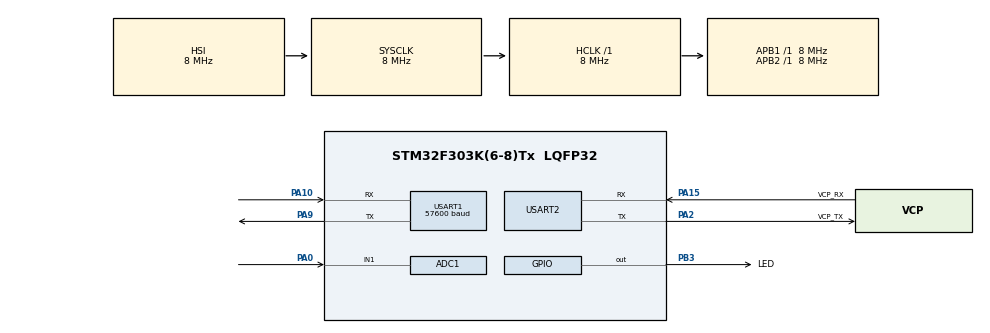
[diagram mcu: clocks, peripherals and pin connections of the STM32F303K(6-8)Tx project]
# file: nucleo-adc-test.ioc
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ADC1.Channel-0\#ChannelRegularConversion=ADC_CHANNEL_1
ADC1.ClockPrescaler=ADC_CLOCK_SYNC_PCLK_DIV1
ADC1.ContinuousConvMode=DISABLE
ADC1.DMAContinuousRequests=ENABLE
ADC1.ExternalTrigConv=ADC_EXTERNALTRIGCONV_T3_TRGO
ADC1.NbrOfConversion=1
ADC1.NbrOfConversionFlag=1
ADC1.Offset-0\#ChannelRegularConversion=0
ADC1.OffsetNumber-0\#ChannelRegularConversion=ADC_OFFSET_NONE
ADC1.Rank-0\#ChannelRegularConversion=1
ADC1.SamplingTime-0\#ChannelRegularConversion=ADC_SAMPLETIME_1CYCLE_5
ADC1.SubFamily=STM32F303x8
ADC1.master=1
Dma.ADC1.0.Direction=DMA_PERIPH_TO_MEMORY
Dma.ADC1.0.Instance=DMA1_Channel1
Dma.ADC1.0.MemDataAlignment=DMA_MDATAALIGN_HALFWORD
Dma.ADC1.0.MemInc=DMA_MINC_ENABLE
Dma.ADC1.0.Mode=DMA_CIRCULAR
Dma.ADC1.0.PeriphDataAlignment=DMA_PDATAALIGN_HALFWORD
Dma.ADC1.0.PeriphInc=DMA_PINC_DISABLE
Dma.ADC1.0.Priority=DMA_PRIORITY_LOW
Dma.Request0=ADC1
Dma.Request1=USART1_RX
Dma.Request2=USART1_TX
Dma.USART1_RX.1.Direction=DMA_PERIPH_TO_MEMORY
Dma.USART1_RX.1.Instance=DMA1_Channel5
Dma.USART1_RX.1.MemDataAlignment=DMA_MDATAALIGN_BYTE
Dma.USART1_RX.1.MemInc=DMA_MINC_ENABLE
Dma.USART1_RX.1.Mode=DMA_NORMAL
Dma.USART1_RX.1.PeriphDataAlignment=DMA_PDATAALIGN_BYTE
Dma.USART1_RX.1.PeriphInc=DMA_PINC_DISABLE
Dma.USART1_RX.1.Priority=DMA_PRIORITY_LOW
Dma.USART1_TX.2.Direction=DMA_MEMORY_TO_PERIPH
Dma.USART1_TX.2.Instance=DMA1_Channel4
Dma.USART1_TX.2.MemDataAlignment=DMA_MDATAALIGN_BYTE
Dma.USART1_TX.2.MemInc=DMA_MINC_ENABLE
Dma.USART1_TX.2.Mode=DMA_NORMAL
Dma.USART1_TX.2.PeriphDataAlignment=DMA_PDATAALIGN_BYTE
Dma.USART1_TX.2.PeriphInc=DMA_PINC_DISABLE
Dma.USART1_TX.2.Priority=DMA_PRIORITY_LOW
Mcu.Family=STM32F3
Mcu.Name=STM32F303K(6-8)Tx
Mcu.Package=LQFP32
NVIC.DMA1_Channel1_IRQn=true\:0\:0\:false\:false\:true\:false\:true\:true
NVIC.DMA1_Channel4_IRQn=true\:0\:0\:false\:false\:true\:false\:true\:true
NVIC.DMA1_Channel5_IRQn=true\:0\:0\:false\:false\:true\:false\:true\:true
NVIC.PriorityGroup=NVIC_PRIORITYGROUP_4
PA0.Mode=IN1-Single-Ended
PA0.Signal=ADC1_IN1
PA10.Mode=Asynchronous
PA10.Signal=USART1_RX
PA13.GPIO_Label=SWDIO
PA13.Mode=Serial_Wire
PA13.Signal=SYS_JTMS-SWDIO
PA14.GPIO_Label=SWCLK
PA14.Mode=Serial_Wire
PA14.Signal=SYS_JTCK-SWCLK
PA15.GPIO_Label=VCP_RX
PA15.Mode=Asynchronous
PA15.Signal=USART2_RX
PA2.GPIO_Label=VCP_TX
PA2.Mode=Asynchronous
PA2.Signal=USART2_TX
PA9.Mode=Asynchronous
PA9.Signal=USART1_TX
PB3.GPIO_Label=LED
PB3.Signal=GPIO_Output
PF0\ /\ OSC_IN.GPIO_Label=MCO
PF0\ /\ OSC_IN.Mode=HSE-External-Clock-Source
PF0\ /\ OSC_IN.Signal=RCC_OSC_IN
ProjectManager.HeapSize=0x200
ProjectManager.StackSize=0x400
ProjectManager.TargetToolchain=STM32CubeIDE
RCC.AHBFreq_Value=8000000
RCC.APB1Freq_Value=8000000
RCC.APB2Freq_Value=8000000
RCC.CortexFreq_Value=8000000
RCC.HSE_VALUE=8000000
RCC.HSI_VALUE=8000000
RCC.SYSCLKFreq_VALUE=8000000
TIM3.Period=640
TIM3.Prescaler=100 - 1
USART1.BaudRate=57600
USART1.VirtualMode-Asynchronous=VM_ASYNC
USART2.VirtualMode-Asynchronous=VM_ASYNC
VP_TIM3_VS_ClockSourceINT.Mode=Internal
board=NUCLEO-F303K8

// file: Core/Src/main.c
/* USER CODE BEGIN Header */
/**
  ******************************************************************************
  * @file           : main.c
  * @brief          : Main program body
  ******************************************************************************
  * @attention
  *
  * Copyright (c) 2022 STMicroelectronics.
  * All rights reserved.
  *
  * This software is licensed under terms that can be found in the LICENSE file
  * in the root directory of this software component.
  * If no LICENSE file comes with this software, it is provided AS-IS.
  *
  ******************************************************************************
  */
/* USER CODE END Header */
#include "main.h"

/* USER CODE BEGIN Includes */
#include <string.h>
#include <stdio.h>

#include "utils.h"
/* USER CODE END Includes */

/* USER CODE BEGIN PTD */

TIM_HandleTypeDef htim3;

/* USER CODE END PTD */

/* USER CODE BEGIN PD */

// We are defining a type of thing. We will have many of these within an array
// Old Test Code
// #define ADC_BUF_LEN 4096

/* Enable Printing of Receive Messages From USART */
#define RECEIVE_PRINT_EN		0
#define ADC_BUFF_SIZE			512
#define ADC_BUFF_HALF_SIZE 		ADC_BUFF_SIZE/2
/* The offset is the size of adc array as this accounts for casting 16bit to 8bit int */
#define ADC_BUFF_OFFSET			ADC_BUFF_SIZE
#define UART_RX_BUFFER_SIZE		256
#define END_OF_MESSAGE_CHAR		'\n'
#define START_STR			"start\n"

/* USER CODE END PD */

 ADC_HandleTypeDef hadc1;
DMA_HandleTypeDef hdma_adc1;

TIM_HandleTypeDef htim3;

UART_HandleTypeDef huart1;
UART_HandleTypeDef huart2;
DMA_HandleTypeDef hdma_usart1_rx;
DMA_HandleTypeDef hdma_usart1_tx;

/* USER CODE BEGIN PV */

/* __IO is volatile in HAL library */
__IO uint8_t *print_str_ptr = NULL;
__IO uint16_t adc_val[ADC_BUFF_SIZE] = { 0 }; /* Where the ADC values are stored */
__IO uint16_t adc_array_offset = 0; /* Offset for sending first or second half of ADC buffer */
__IO uint8_t adc_print = 0; /* Print adc values flag */
__IO uint8_t str_print = 0; /* Print string flag */
__IO uint8_t end_of_message = 0; /* Flag is set when start of string has be sent */
__IO uint8_t start = 0; /* Flag to start main loop after receiving response from PC */

uint8_t rx_buffer[UART_RX_BUFFER_SIZE] = { 0 }; /* Buffer for received messages over USART */
circle_buff_s rx_control = { /* Struct for managing receive buffer */.buffer = rx_buffer, .head = 0, .tail = 0, .size = UART_RX_BUFFER_SIZE,
		.wrapped = 0 };

// Old Test Code
// We use many of those buffers and keep em in this array
//uint16_t adc_buf[ADC_BUF_LEN];

/* USER CODE END PV */

void SystemClock_Config(void);
static void MX_GPIO_Init(void);
static void MX_USART2_UART_Init(void);
static void MX_DMA_Init(void);
static void MX_ADC1_Init(void);
static void MX_USART1_UART_Init(void);
static void MX_TIM3_Init(void);

int main(void)
{

  /* MCU Configuration--------------------------------------------------------*/

  /* Reset of all peripherals, Initializes the Flash interface and the Systick. */
  HAL_Init();

  /* Configure the system clock */
  SystemClock_Config();

  /* Initialize all configured peripherals */
  MX_GPIO_Init();
  MX_USART2_UART_Init();
  MX_DMA_Init();
  MX_ADC1_Init();
  MX_USART1_UART_Init();
  MX_TIM3_Init();
  /* USER CODE BEGIN 2 */

  // OLD TEST CODE
  // HAL library will start the DMC for us
  // HAL_ADC_Start_DMA(&hadc1, (uint32_t*)adc_buf, ADC_BUF_LEN);

	/* Enable interrupt on single Byte receive in USART buffer */
	__HAL_UART_ENABLE_IT(&huart1, UART_IT_RXNE);

	/* Workaround for asynchronous UART RX */
	huart1.pRxBuffPtr = rx_control.buffer; /* Tell USART where to place received bytes */
	huart1.Mask = 0xFFU; /* Setting no parity bits */

  /* USER CODE END 2 */

  /* Infinite loop */
  /* USER CODE BEGIN WHILE */
/* Loop around until "start\n" is received over USART */
  while (!start)
  {

	  HAL_printf("s"); /* Send "ss/n" over USART */
	  HAL_Delay(500); /* Delay 500ms */
  }

  /* Received start from PC, acknowledge and start */
  	HAL_printf("starting");

  	/* Calibrate ADC */
  	HAL_Status_Check(HAL_ADCEx_Calibration_Start(&hadc1, ADC_SINGLE_ENDED));

  	/* Start DMA controller taking samples from ADC and placing them in buffer */
  	HAL_Status_Check(
  			HAL_ADC_Start_DMA(&hadc1, (uint32_t*) &adc_val, ADC_BUFF_SIZE));

  	/* Start timer used to trigger ADC conversions, timer set to 1KHz */
  	HAL_Status_Check(HAL_TIM_Base_Start_IT(&htim3));

  	/* Main Loop, sends the half the ADC buffer every 256ms and can send received messaged if enabled */

    /* USER CODE END WHILE */

    /* USER CODE BEGIN 3 */

  	while (1) {

		/* ADC values ready to send */
				if (adc_print) {
					/* This is actually sending half of the ADC buffer because of the cast, 512 uin8_t's or 256 uint16_t's */
					HAL_print_raw((uint8_t*) (&adc_val) + adc_array_offset,
					ADC_BUFF_SIZE);
					adc_print = 0;
				}
				/* Received message over USART, print it back */
				if (str_print && RECEIVE_PRINT_EN) {
					/* Full message received, send in one go */
					if (!end_of_message) {
						HAL_printf("Received %s", print_str_ptr);
					}
					/* Start of message already sent, print end of message */
					else {
						HAL_print_raw((uint8_t*) print_str_ptr, rx_control.head);
						HAL_print_raw((uint8_t*) '\n', 1);
						end_of_message = 0;
					}
					str_print = 0;
				}
	}

  /* USER CODE END 3 */
}

void SystemClock_Config(void)
{
  RCC_OscInitTypeDef RCC_OscInitStruct = {0};
  RCC_ClkInitTypeDef RCC_ClkInitStruct = {0};
  RCC_PeriphCLKInitTypeDef PeriphClkInit = {0};

  /** Initializes the RCC Oscillators according to the specified parameters
  * in the RCC_OscInitTypeDef structure.
  */
  RCC_OscInitStruct.OscillatorType = RCC_OSCILLATORTYPE_HSI;
  RCC_OscInitStruct.HSIState = RCC_HSI_ON;
  RCC_OscInitStruct.HSICalibrationValue = RCC_HSICALIBRATION_DEFAULT;
  RCC_OscInitStruct.PLL.PLLState = RCC_PLL_NONE;
  if (HAL_RCC_OscConfig(&RCC_OscInitStruct) != HAL_OK)
  {
    Error_Handler();
  }

  /** Initializes the CPU, AHB and APB buses clocks
  */
  RCC_ClkInitStruct.ClockType = RCC_CLOCKTYPE_HCLK|RCC_CLOCKTYPE_SYSCLK
                              |RCC_CLOCKTYPE_PCLK1|RCC_CLOCKTYPE_PCLK2;
  RCC_ClkInitStruct.SYSCLKSource = RCC_SYSCLKSOURCE_HSI;
  RCC_ClkInitStruct.AHBCLKDivider = RCC_SYSCLK_DIV1;
  RCC_ClkInitStruct.APB1CLKDivider = RCC_HCLK_DIV1;
  RCC_ClkInitStruct.APB2CLKDivider = RCC_HCLK_DIV1;

  if (HAL_RCC_ClockConfig(&RCC_ClkInitStruct, FLASH_LATENCY_0) != HAL_OK)
  {
    Error_Handler();
  }
  PeriphClkInit.PeriphClockSelection = RCC_PERIPHCLK_USART1;
  PeriphClkInit.Usart1ClockSelection = RCC_USART1CLKSOURCE_PCLK1;
  if (HAL_RCCEx_PeriphCLKConfig(&PeriphClkInit) != HAL_OK)
  {
    Error_Handler();
  }
}

static void MX_ADC1_Init(void)
{

  ADC_MultiModeTypeDef multimode = {0};
  ADC_ChannelConfTypeDef sConfig = {0};

  /** Common config
  */
  hadc1.Instance = ADC1;
  hadc1.Init.ClockPrescaler = ADC_CLOCK_SYNC_PCLK_DIV1;
  hadc1.Init.Resolution = ADC_RESOLUTION_12B;
  hadc1.Init.ScanConvMode = ADC_SCAN_DISABLE;
  hadc1.Init.ContinuousConvMode = DISABLE;
  hadc1.Init.DiscontinuousConvMode = DISABLE;
  hadc1.Init.ExternalTrigConvEdge = ADC_EXTERNALTRIGCONVEDGE_RISING;
  hadc1.Init.ExternalTrigConv = ADC_EXTERNALTRIGCONV_T3_TRGO;
  hadc1.Init.DataAlign = ADC_DATAALIGN_RIGHT;
  hadc1.Init.NbrOfConversion = 1;
  hadc1.Init.DMAContinuousRequests = ENABLE;
  hadc1.Init.EOCSelection = ADC_EOC_SINGLE_CONV;
  hadc1.Init.LowPowerAutoWait = DISABLE;
  hadc1.Init.Overrun = ADC_OVR_DATA_OVERWRITTEN;
  if (HAL_ADC_Init(&hadc1) != HAL_OK)
  {
    Error_Handler();
  }

  /** Configure the ADC multi-mode
  */
  multimode.Mode = ADC_MODE_INDEPENDENT;
  if (HAL_ADCEx_MultiModeConfigChannel(&hadc1, &multimode) != HAL_OK)
  {
    Error_Handler();
  }

  /** Configure Regular Channel
  */
  sConfig.Channel = ADC_CHANNEL_1;
  sConfig.Rank = ADC_REGULAR_RANK_1;
  sConfig.SingleDiff = ADC_SINGLE_ENDED;
  sConfig.SamplingTime = ADC_SAMPLETIME_1CYCLE_5;
  sConfig.OffsetNumber = ADC_OFFSET_NONE;
  sConfig.Offset = 0;
  if (HAL_ADC_ConfigChannel(&hadc1, &sConfig) != HAL_OK)
  {
    Error_Handler();
  }

}

static void MX_TIM3_Init(void)
{

  TIM_ClockConfigTypeDef sClockSourceConfig = {0};
  TIM_MasterConfigTypeDef sMasterConfig = {0};

  htim3.Instance = TIM3;
  htim3.Init.Prescaler = 100 - 1;
  htim3.Init.CounterMode = TIM_COUNTERMODE_UP;
  htim3.Init.Period = 640;
  htim3.Init.ClockDivision = TIM_CLOCKDIVISION_DIV1;
  htim3.Init.AutoReloadPreload = TIM_AUTORELOAD_PRELOAD_DISABLE;
  if (HAL_TIM_Base_Init(&htim3) != HAL_OK)
  {
    Error_Handler();
  }
  sClockSourceConfig.ClockSource = TIM_CLOCKSOURCE_INTERNAL;
  if (HAL_TIM_ConfigClockSource(&htim3, &sClockSourceConfig) != HAL_OK)
  {
    Error_Handler();
  }
  sMasterConfig.MasterOutputTrigger = TIM_TRGO_RESET;
  sMasterConfig.MasterSlaveMode = TIM_MASTERSLAVEMODE_DISABLE;
  if (HAL_TIMEx_MasterConfigSynchronization(&htim3, &sMasterConfig) != HAL_OK)
  {
    Error_Handler();
  }

}

static void MX_USART1_UART_Init(void)
{

  huart1.Instance = USART1;
  huart1.Init.BaudRate = 57600;
  huart1.Init.WordLength = UART_WORDLENGTH_8B;
  huart1.Init.StopBits = UART_STOPBITS_1;
  huart1.Init.Parity = UART_PARITY_NONE;
  huart1.Init.Mode = UART_MODE_TX_RX;
  huart1.Init.HwFlowCtl = UART_HWCONTROL_NONE;
  huart1.Init.OverSampling = UART_OVERSAMPLING_16;
  huart1.Init.OneBitSampling = UART_ONE_BIT_SAMPLE_DISABLE;
  huart1.AdvancedInit.AdvFeatureInit = UART_ADVFEATURE_NO_INIT;
  if (HAL_UART_Init(&huart1) != HAL_OK)
  {
    Error_Handler();
  }

}

static void MX_USART2_UART_Init(void)
{

  huart2.Instance = USART2;
  huart2.Init.BaudRate = 38400;
  huart2.Init.WordLength = UART_WORDLENGTH_8B;
  huart2.Init.StopBits = UART_STOPBITS_1;
  huart2.Init.Parity = UART_PARITY_NONE;
  huart2.Init.Mode = UART_MODE_TX_RX;
  huart2.Init.HwFlowCtl = UART_HWCONTROL_NONE;
  huart2.Init.OverSampling = UART_OVERSAMPLING_16;
  huart2.Init.OneBitSampling = UART_ONE_BIT_SAMPLE_DISABLE;
  huart2.AdvancedInit.AdvFeatureInit = UART_ADVFEATURE_NO_INIT;
  if (HAL_UART_Init(&huart2) != HAL_OK)
  {
    Error_Handler();
  }

}

static void MX_DMA_Init(void)
{

  /* DMA controller clock enable */
  __HAL_RCC_DMA1_CLK_ENABLE();

  /* DMA interrupt init */
  /* DMA1_Channel1_IRQn interrupt configuration */
  HAL_NVIC_SetPriority(DMA1_Channel1_IRQn, 0, 0);
  HAL_NVIC_EnableIRQ(DMA1_Channel1_IRQn);
  /* DMA1_Channel4_IRQn interrupt configuration */
  HAL_NVIC_SetPriority(DMA1_Channel4_IRQn, 0, 0);
  HAL_NVIC_EnableIRQ(DMA1_Channel4_IRQn);
  /* DMA1_Channel5_IRQn interrupt configuration */
  HAL_NVIC_SetPriority(DMA1_Channel5_IRQn, 0, 0);
  HAL_NVIC_EnableIRQ(DMA1_Channel5_IRQn);

}

static void MX_GPIO_Init(void)
{
  GPIO_InitTypeDef GPIO_InitStruct = {0};

  /* GPIO Ports Clock Enable */
  __HAL_RCC_GPIOF_CLK_ENABLE();
  __HAL_RCC_GPIOA_CLK_ENABLE();
  __HAL_RCC_GPIOB_CLK_ENABLE();

  /*Configure GPIO pin Output Level */
  HAL_GPIO_WritePin(LED_GPIO_Port, LED_Pin, GPIO_PIN_RESET);

  /*Configure GPIO pin : LED_Pin */
  GPIO_InitStruct.Pin = LED_Pin;
  GPIO_InitStruct.Mode = GPIO_MODE_OUTPUT_PP;
  GPIO_InitStruct.Pull = GPIO_NOPULL;
  GPIO_InitStruct.Speed = GPIO_SPEED_FREQ_LOW;
  HAL_GPIO_Init(LED_GPIO_Port, &GPIO_InitStruct);

}

/* USER CODE BEGIN 4 */

// Called When the ADC has filled half of the buffer
void HAL_ADC_ConvHalfCpltCallback(ADC_HandleTypeDef *hadc) {
	//* Set flag to send first half of buffer *
	adc_print = 1;
	adc_array_offset = 0;
}

// Called when the ADC has filled the buffer
void HAL_ADC_ConvCpltCallback(ADC_HandleTypeDef *hadc) {
	// Set flag to send second half of buffer
	adc_print = 1;
	adc_array_offset = ADC_BUFF_OFFSET;
 	 // Tell DMA controller to restart filling the buffer
	HAL_Status_Check(
			HAL_ADC_Start_DMA(&hadc1, (uint32_t*) &adc_val, ADC_BUFF_SIZE));
}

/* Called when the UART has processed 1 byte, had to implement my own circular buffer this way
 * as HAL library didn't facilitate asynchronous receiving
 */
void HAL_UART_RxCpltCallback(UART_HandleTypeDef *huart) {
	/* End of buffer, print start of message */
	if ((uint32_t) huart->pRxBuffPtr
			>= ((uint32_t) (rx_control.buffer) + rx_control.size - 1)) {
		print_str_ptr = rx_control.buffer + rx_control.tail;
		huart->pRxBuffPtr = rx_control.buffer;
		rx_control.head = 0;
		rx_control.tail = 0;
		rx_control.wrapped = 1;
		str_print = 1;
	} else {
		rx_control.head++;
	}

	/* Full message received, process it */
	if ((uint8_t) *(rx_control.buffer + rx_control.head - 1)
			== (uint8_t) END_OF_MESSAGE_CHAR) {
		/* Don't set print_str_ptr if it was set already above */
		if (!str_print) {
			print_str_ptr = rx_control.buffer + rx_control.tail;
			if (RECEIVE_PRINT_EN) {
				str_print = 1;
			}
		}

		/* Start message received from PC, start main loop */
		if (!start
				&& !(strncmp((char*) print_str_ptr, START_STR,
						strlen(START_STR)))) {
			start = 1;
		}
		rx_control.tail = rx_control.head;

		/* If receive buffer has wrapped around, print end of message and memset rest of buffer */
		if (rx_control.wrapped) {
			rx_control.wrapped = 0;
			/* memset everything after current message */
			memset(rx_control.buffer + rx_control.tail, 0,
					rx_control.size - rx_control.tail);
			end_of_message = 1;
		}
	}

	/* Re-enable byte received interrupt */
	__HAL_UART_ENABLE_IT(huart, UART_IT_RXNE);
}

/*
// Called when first half of buffer is filled
void HAL_ADC_ConvHalfCpltCallback(ADC_HandleTypeDef* hadc){
	HAL_GPIO_WritePin(LED_GPIO_Port, LED_Pin, GPIO_PIN_SET);
}

// Called when buffer is completely full
void HAL_ADC_ConvCpltCallback(ADC_HandleTypeDef* hadc){
	HAL_GPIO_WritePin(LED_GPIO_Port, LED_Pin, GPIO_PIN_RESET);
}
*/

/* USER CODE END 4 */

void Error_Handler(void)
{
  __disable_irq();
  while (1)
  {
  }
}
